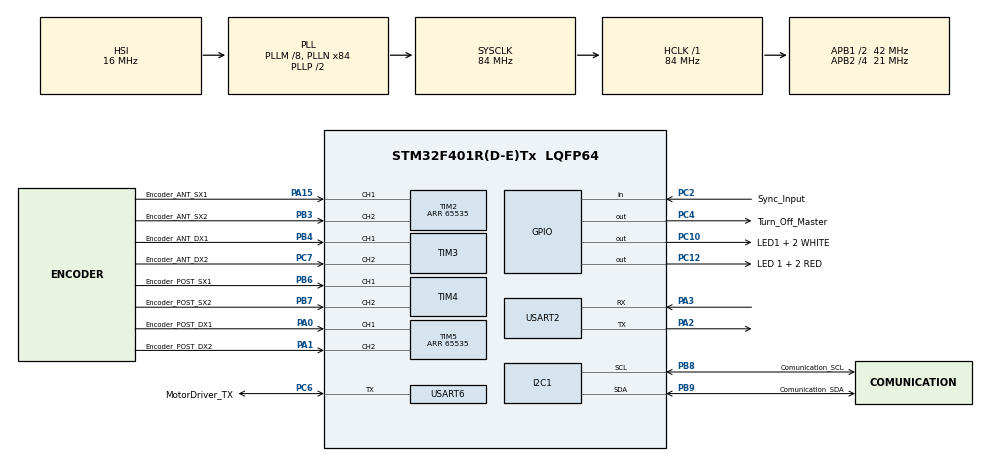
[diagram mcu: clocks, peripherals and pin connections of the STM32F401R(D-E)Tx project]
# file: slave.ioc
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ADC1.Channel-0\#ChannelRegularConversion=ADC_CHANNEL_TEMPSENSOR
ADC1.ClockPrescaler=ADC_CLOCK_SYNC_PCLK_DIV4
ADC1.ContinuousConvMode=ENABLE
ADC1.EOCSelection=ADC_EOC_SEQ_CONV
ADC1.NbrOfConversionFlag=1
ADC1.Rank-0\#ChannelRegularConversion=1
ADC1.SamplingTime-0\#ChannelRegularConversion=ADC_SAMPLETIME_3CYCLES
ADC1.master=1
FREERTOS.Tasks01=defaultTask,24,128,StartDefaultTask,Default,NULL,Dynamic,NULL,NULL
FREERTOS.configUSE_NEWLIB_REENTRANT=1
I2C1.I2C_Mode=I2C_Fast
I2C1.OwnAddress=89
Mcu.Family=STM32F4
Mcu.Name=STM32F401R(D-E)Tx
Mcu.Package=LQFP64
NVIC.I2C1_EV_IRQn=true\:5\:0\:false\:false\:true\:true\:true\:true\:true
NVIC.PriorityGroup=NVIC_PRIORITYGROUP_4
NVIC.TIM1_TRG_COM_TIM11_IRQn=true\:15\:0\:false\:false\:true\:false\:false\:true\:true
NVIC.TimeBase=TIM1_TRG_COM_TIM11_IRQn
NVIC.TimeBaseIP=TIM11
PA0-WKUP.GPIO_Label=Encoder_POST_DX1
PA0-WKUP.Signal=S_TIM5_CH1
PA1.GPIO_Label=Encoder_POST_DX2
PA1.Signal=S_TIM5_CH2
PA15.GPIO_Label=Encoder_ANT_SX1
PA15.Signal=S_TIM2_CH1_ETR
PA2.Mode=Asynchronous
PA2.Signal=USART2_TX
PA3.Mode=Asynchronous
PA3.Signal=USART2_RX
PB3.GPIO_Label=Encoder_ANT_SX2
PB3.Signal=S_TIM2_CH2
PB4.GPIO_Label=Encoder_ANT_DX1
PB4.Signal=S_TIM3_CH1
PB6.GPIO_Label=Encoder_POST_SX1
PB6.Signal=S_TIM4_CH1
PB7.GPIO_Label=Encoder_POST_SX2
PB7.Signal=S_TIM4_CH2
PB8.GPIO_Label=Comunication_SCL
PB8.GPIO_Pu=GPIO_PULLUP
PB8.Mode=I2C
PB8.Signal=I2C1_SCL
PB9.GPIO_Label=Comunication_SDA
PB9.GPIO_Pu=GPIO_PULLUP
PB9.Mode=I2C
PB9.Signal=I2C1_SDA
PC10.GPIO_Label=LED1 + 2 WHITE
PC10.Signal=GPIO_Output
PC12.GPIO_Label=LED 1 + 2 RED
PC12.Signal=GPIO_Output
PC2.GPIO_Label=Sync_Input
PC2.Signal=GPIO_Input
PC4.GPIO_Label=Turn_Off_Master
PC4.Signal=GPIO_Output
PC6.GPIO_Label=MotorDriver_TX
PC6.Mode=Half_duplex(single_wire_mode)
PC6.Signal=USART6_TX
PC7.GPIO_Label=Encoder_ANT_DX2
PC7.Signal=S_TIM3_CH2
ProjectManager.HeapSize=0x200
ProjectManager.StackSize=0x400
ProjectManager.TargetToolchain=STM32CubeIDE
RCC.48MHZClocksFreq_Value=42000000
RCC.AHBFreq_Value=84000000
RCC.APB1CLKDivider=RCC_HCLK_DIV2
RCC.APB1Freq_Value=42000000
RCC.APB1TimFreq_Value=84000000
RCC.APB2CLKDivider=RCC_HCLK_DIV4
RCC.APB2Freq_Value=21000000
RCC.APB2TimFreq_Value=42000000
RCC.CortexFreq_Value=84000000
RCC.HCLKFreq_Value=84000000
RCC.HSE_VALUE=25000000
RCC.HSI_VALUE=16000000
RCC.LSE_VALUE=32768
RCC.PLLM=8
RCC.PLLN=84
RCC.SYSCLKFreq_VALUE=84000000
RCC.SYSCLKSource=RCC_SYSCLKSOURCE_PLLCLK
RCC.VCOOutputFreq_Value=168000000
SH.S_TIM2_CH1_ETR.0=TIM2_CH1,Encoder_Interface
SH.S_TIM2_CH2.0=TIM2_CH2,Encoder_Interface
SH.S_TIM3_CH1.0=TIM3_CH1,Encoder_Interface
SH.S_TIM3_CH2.0=TIM3_CH2,Encoder_Interface
SH.S_TIM4_CH1.0=TIM4_CH1,Encoder_Interface
SH.S_TIM4_CH2.0=TIM4_CH2,Encoder_Interface
SH.S_TIM5_CH1.0=TIM5_CH1,Encoder_Interface
SH.S_TIM5_CH2.0=TIM5_CH2,Encoder_Interface
TIM2.EncoderMode=TIM_ENCODERMODE_TI12
TIM2.Period=65535
TIM3.EncoderMode=TIM_ENCODERMODE_TI12
TIM4.EncoderMode=TIM_ENCODERMODE_TI12
TIM5.EncoderMode=TIM_ENCODERMODE_TI12
TIM5.Period=65535
USART2.VirtualMode=VM_ASYNC
USART6.BaudRate=38400
USART6.VirtualMode=VM_ASYNC
VP_ADC1_TempSens_Input.Mode=IN-TempSens
VP_FREERTOS_VS_CMSIS_V2.Mode=CMSIS_V2
VP_SYS_VS_tim11.Mode=TIM11
board=custom

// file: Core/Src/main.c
/* USER CODE BEGIN Header */
/**
  ******************************************************************************
  * @file           : main.c
  * @brief          : Main program body
  ******************************************************************************
  * @attention
  *
  * Copyright (c) 2023 STMicroelectronics.
  * All rights reserved.
  *
  * This software is licensed under terms that can be found in the LICENSE file
  * in the root directory of this software component.
  * If no LICENSE file comes with this software, it is provided AS-IS.
  *
  ******************************************************************************
  */
/* USER CODE END Header */
#include "main.h"
#include "cmsis_os.h"
#include "adc.h"
#include "i2c.h"
#include "tim.h"
#include "usart.h"
#include "gpio.h"

/* USER CODE BEGIN Includes */
#include "panda_comunication.h"
#include "panda_encoder.h"
/* USER CODE END Includes */

/* USER CODE BEGIN PTD */
#ifdef __GNUC__
#define PUTCHAR_PROTOTYPE int __io_putchar(int ch)
#else
#define PUTCHAR_PROTOTYPE int fputc(int ch, FILE *f)
#endif

PUTCHAR_PROTOTYPE
{
  HAL_UART_Transmit(&huart2, (uint8_t *)&ch, 1, 0xFFFF);
  return ch;
}
/* USER CODE END PTD */

void SystemClock_Config(void);
void MX_FREERTOS_Init(void);
/* USER CODE BEGIN PFP */
Global_Struct_t Global_Struct_From_Master[PANDA_STRUCT_MASTER_SIZE];
Global_Struct_t Global_Struct[PANDA_STRUCT_GLOBAL_SIZE];
Global_Struct_t Global_Struct_Slave[PANDA_STRUCT_SLAVE_SIZE];
encoder_t EncoderFL;
encoder_t EncoderFR;
encoder_t EncoderBL;
encoder_t EncoderBR;

/* USER CODE END PFP */

int main(void)
{

  /* MCU Configuration--------------------------------------------------------*/

  /* Reset of all peripherals, Initializes the Flash interface and the Systick. */
  HAL_Init();

  /* Configure the system clock */
  SystemClock_Config();

  /* Initialize all configured peripherals */
  MX_GPIO_Init();
  MX_USART2_UART_Init();
  MX_USART6_UART_Init();
  MX_TIM2_Init();
  MX_TIM3_Init();
  MX_TIM4_Init();
  MX_TIM5_Init();
  MX_I2C1_Init();
  MX_ADC1_Init();
  /* USER CODE BEGIN 2 */
  HAL_ADC_Start(&hadc1);
  MX_USART2_UART_Init();

  HAL_GPIO_WritePin(Turn_Off_Master_GPIO_Port, Turn_Off_Master_Pin, GPIO_PIN_RESET);

  Global_Struct_Slave_Init(Global_Struct_Slave);
  Global_Struct_Master_Init(Global_Struct_From_Master);
  Global_Struct_Init(Global_Struct);
  panda_encoder_init(&EncoderFL, &htim2);
  panda_encoder_init(&EncoderFR, &htim3);
  panda_encoder_init(&EncoderBL, &htim4);
  panda_encoder_init(&EncoderBR, &htim5);
  panda_comunication_init_sync(&hi2c1, Sync_Input_GPIO_Port, Sync_Input_Pin);

  /* USER CODE END 2 */

  /* Init scheduler */
  osKernelInitialize();  /* Call init function for freertos objects (in freertos.c) */
  MX_FREERTOS_Init();

  /* Start scheduler */
  osKernelStart();

  /* We should never get here as control is now taken by the scheduler */
  /* Infinite loop */
  while (1)
  {

  }
}

void SystemClock_Config(void)
{
  RCC_OscInitTypeDef RCC_OscInitStruct = {0};
  RCC_ClkInitTypeDef RCC_ClkInitStruct = {0};

  /** Configure the main internal regulator output voltage
  */
  __HAL_RCC_PWR_CLK_ENABLE();
  __HAL_PWR_VOLTAGESCALING_CONFIG(PWR_REGULATOR_VOLTAGE_SCALE2);

  /** Initializes the RCC Oscillators according to the specified parameters
  * in the RCC_OscInitTypeDef structure.
  */
  RCC_OscInitStruct.OscillatorType = RCC_OSCILLATORTYPE_HSI;
  RCC_OscInitStruct.HSIState = RCC_HSI_ON;
  RCC_OscInitStruct.HSICalibrationValue = RCC_HSICALIBRATION_DEFAULT;
  RCC_OscInitStruct.PLL.PLLState = RCC_PLL_ON;
  RCC_OscInitStruct.PLL.PLLSource = RCC_PLLSOURCE_HSI;
  RCC_OscInitStruct.PLL.PLLM = 8;
  RCC_OscInitStruct.PLL.PLLN = 84;
  RCC_OscInitStruct.PLL.PLLP = RCC_PLLP_DIV2;
  RCC_OscInitStruct.PLL.PLLQ = 4;
  if (HAL_RCC_OscConfig(&RCC_OscInitStruct) != HAL_OK)
  {
    Error_Handler();
  }

  /** Initializes the CPU, AHB and APB buses clocks
  */
  RCC_ClkInitStruct.ClockType = RCC_CLOCKTYPE_HCLK|RCC_CLOCKTYPE_SYSCLK
                              |RCC_CLOCKTYPE_PCLK1|RCC_CLOCKTYPE_PCLK2;
  RCC_ClkInitStruct.SYSCLKSource = RCC_SYSCLKSOURCE_PLLCLK;
  RCC_ClkInitStruct.AHBCLKDivider = RCC_SYSCLK_DIV1;
  RCC_ClkInitStruct.APB1CLKDivider = RCC_HCLK_DIV2;
  RCC_ClkInitStruct.APB2CLKDivider = RCC_HCLK_DIV4;

  if (HAL_RCC_ClockConfig(&RCC_ClkInitStruct, FLASH_LATENCY_2) != HAL_OK)
  {
    Error_Handler();
  }
}

void HAL_TIM_PeriodElapsedCallback(TIM_HandleTypeDef *htim)
{
  if (htim->Instance == TIM11) {
    HAL_IncTick();
  }
}

void Error_Handler(void)
{
  __disable_irq();
  while (1)
  {
  }
}

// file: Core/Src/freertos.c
/* USER CODE BEGIN Header */
/**
  ******************************************************************************
  * File Name          : freertos.c
  * Description        : Code for freertos applications
  ******************************************************************************
  * @attention
  *
  * Copyright (c) 2023 STMicroelectronics.
  * All rights reserved.
  *
  * This software is licensed under terms that can be found in the LICENSE file
  * in the root directory of this software component.
  * If no LICENSE file comes with this software, it is provided AS-IS.
  *
  ******************************************************************************
  */
/* USER CODE END Header */

#include "FreeRTOS.h"
#include "main.h"
#include "cmsis_os.h"
#include "task.h"
/* USER CODE BEGIN Includes */
#include "FreeRTOS_Tasks.h"
/* USER CODE END Includes */

/* Definitions for defaultTask */

void StartDefaultTask(void *argument);

void MX_FREERTOS_Init(void); /* (MISRA C 2004 rule 8.1) */

void MX_FREERTOS_Init(void) {
  /* USER CODE BEGIN Init */
	vSchedulerInit();
	printf("------------Hello From FreeRTOS------------\r\n");
	vSchedulerInit();
  /* USER CODE END Init */

  /* Create the thread(s) */
  /* creation of defaultTask */

  /* USER CODE BEGIN RTOS_THREADS */
  /* add threads, ... */
  FreeRTOS_Tasks_Init();

  /* USER CODE END RTOS_THREADS */

}

void StartDefaultTask(void *argument)
{
  for(;;)
  {
    osDelay(1);
  }
}
